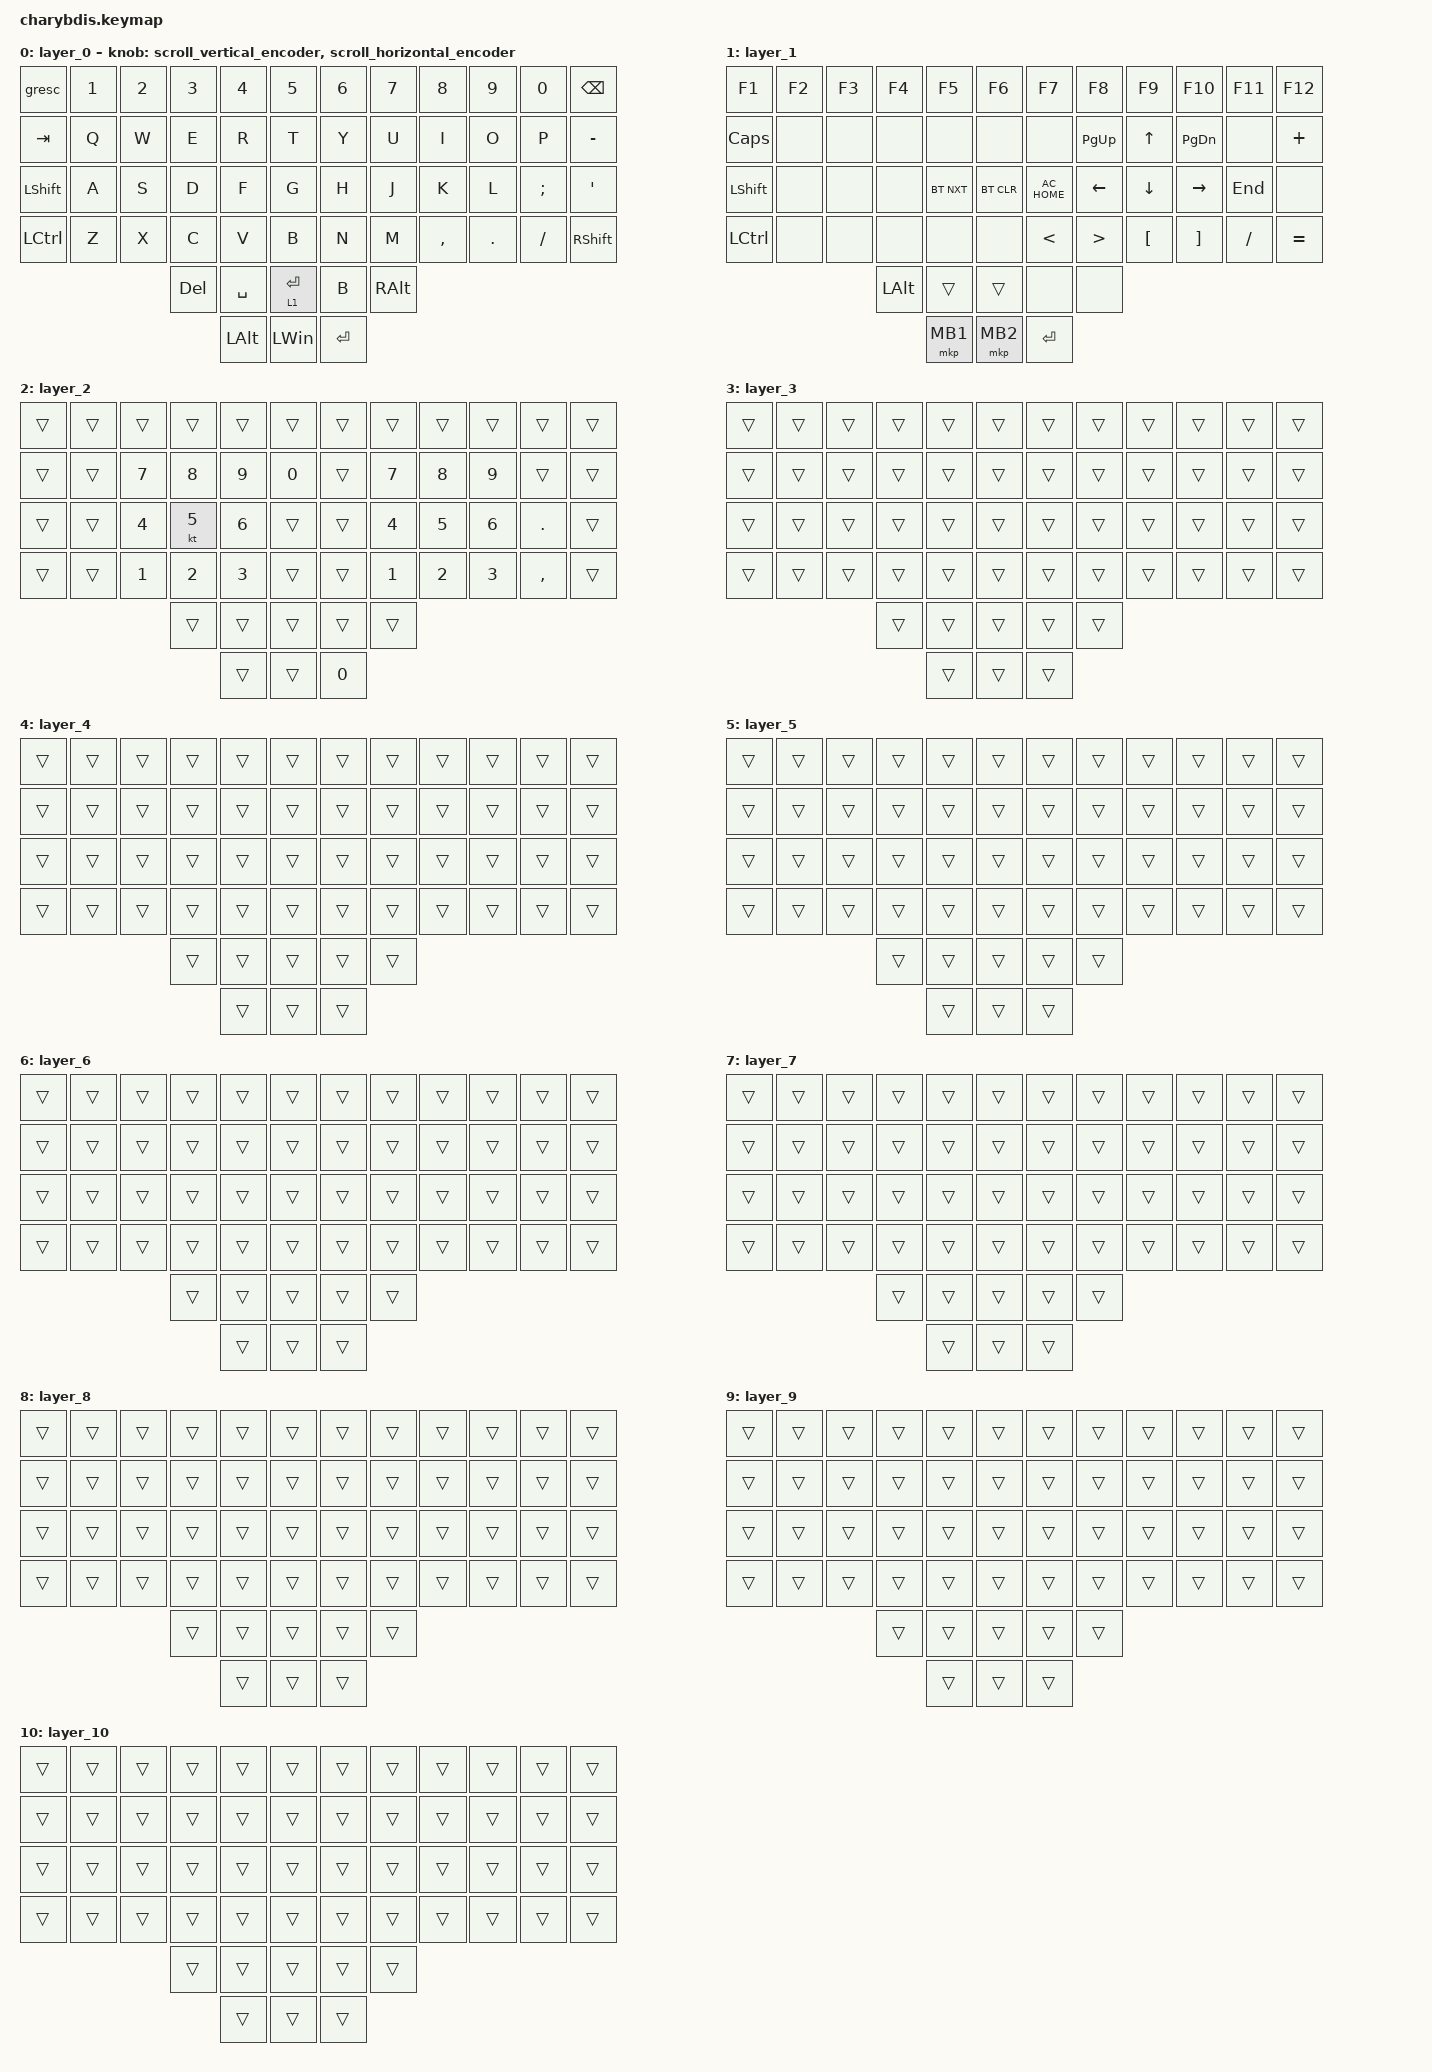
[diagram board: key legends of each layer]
#include <dt-bindings/zmk/mouse.h>
#include <input/processors.dtsi>
#include <zephyr/dt-bindings/input/input-event-codes.h>
#include <behaviors.dtsi>
#include <dt-bindings/zmk/bt.h>
#include <dt-bindings/zmk/keys.h>
#include <dt-bindings/zmk/pointing.h>
#include <dt-bindings/zmk/rgb.h>

#define ZMK_POINTING_DEFAULT_MOVE_VAL 1000 // 600
#define ZMK_POINTING_DEFAULT_SCRL_VAL 12   // 10

&lt {
    tapping-term-ms = <200>;
    flavor = "balanced";
    quick-tap-ms = <150>;
};

&mmv_input_listener { input-processors = <&zip_xy_scaler 2 1>; };

&msc_input_listener { input-processors = <&zip_scroll_scaler 2 1>; };

&msc {
    acceleration-exponent = <0>;      // 0
    time-to-max-speed-ms = <100>;       // 300
    delay-ms = <0>;                   // 0
};

&mmv {
    time-to-max-speed-ms = <500>;
    acceleration-exponent = <1>;
    trigger-period-ms = <16>;
};

/ {
    // 上下滚动编码器行为

    scroll_vertical_encoder: scroll_vertical_encoder {
        compatible = "zmk,behavior-sensor-rotate";
        #sensor-binding-cells = <0>;
        bindings = <&msc SCRL_DOWN>, <&msc SCRL_UP>;

        tap-ms = <100>;
    };

    // 左右滚动编码器行为

    scroll_horizontal_encoder: scroll_horizontal_encoder {
        compatible = "zmk,behavior-sensor-rotate";
        #sensor-binding-cells = <0>;
        bindings = <&msc SCRL_LEFT>, <&msc SCRL_RIGHT>;

        tap-ms = <100>;
    };

    behaviors {
    };

    macros {
        To1_macro: To1_macro {
            compatible = "zmk,behavior-macro";
            label = "To1_macro";
            #binding-cells = <0>;
            bindings = <&rgb_ug RGB_EFF &rgb_ug RGB_COLOR_HSB(128,100,50) &to 1>;
        };

        To1_macro_A: To1_macro_A {
            compatible = "zmk,behavior-macro";
            label = "To1_macro_A";
            #binding-cells = <0>;
            bindings = <&rgb_ug RGB_COLOR_HSB(128,100,50) &to 1>;
        };

        To0_macro: To0_macro {
            compatible = "zmk,behavior-macro";
            label = "To0_macro";
            #binding-cells = <0>;
            bindings = <&rgb_ug RGB_EFR &to 0>;
        };

        To2_macro_A: To2_macro_A {
            compatible = "zmk,behavior-macro";
            label = "To2_macro_A";
            #binding-cells = <0>;
            bindings = <&rgb_ug RGB_COLOR_HSB(250,100,50) &to 2>;
        };

        To2_macro: To2_macro {
            compatible = "zmk,behavior-macro";
            label = "To2_macro";
            #binding-cells = <0>;
            bindings = <&rgb_ug RGB_EFF &rgb_ug RGB_COLOR_HSB(250,100,50) &to 2>;
        };
    };

    combos {
        compatible = "zmk,combos";

        layer2 {
            bindings = <&tog 2>;
            key-positions = <47 35>;
        };
    };

    keymap {
        compatible = "zmk,keymap";

        layer_0 {
            bindings = <
&gresc          &kp N1  &kp N2  &kp N3      &kp N4     &kp N5          &kp N6     &kp N7    &kp N8     &kp N9      &kp N0    &kp BACKSPACE
&kp TAB         &kp Q   &kp W   &kp E       &kp R      &kp T           &kp Y      &kp U     &kp I      &kp O       &kp P     &kp MINUS
&kp LEFT_SHIFT  &kp A   &kp S   &kp D       &kp F      &kp G           &kp H      &kp J     &kp K      &kp L       &kp SEMI  &kp SQT
&kp LCTRL       &kp Z   &kp X   &kp C       &kp V      &kp B           &kp N      &kp M     &kp COMMA  &kp PERIOD  &kp FSLH  &kp RIGHT_SHIFT
                                &kp DELETE  &kp SPACE  &lt 1 ENTER     &kp B      &kp RALT
                                            &kp LALT   &kp LEFT_WIN    &kp ENTER
            >;

            sensor-bindings =
                <&scroll_vertical_encoder>,
                // 编码器1：上下滚动,,,,,
                <&scroll_horizontal_encoder>;

            // 编码器2：左右滚动
        };

        layer_1 {
            bindings = <
&kp F1          &kp F2  &kp F3  &kp F4        &kp F5      &kp F6        &kp F7         &kp F8            &kp F9            &kp F10            &kp F11    &kp F12
&kp CAPS        &none   &none   &none         &none       &none         &none          &kp PAGE_UP       &kp UP            &kp PAGE_DOWN      &none      &kp PLUS
&kp LEFT_SHIFT  &none   &none   &none         &bt BT_NXT  &bt BT_CLR    &kp C_AC_HOME  &kp LEFT          &kp DOWN          &kp RIGHT          &kp END    &none
&kp LCTRL       &none   &none   &none         &none       &none         &kp LESS_THAN  &kp GREATER_THAN  &kp LEFT_BRACKET  &kp RIGHT_BRACKET  &kp SLASH  &kp EQUAL
                                &kp LEFT_ALT  &trans      &trans        &none          &none
                                              &mkp MB1    &mkp MB2      &kp ENTER
            >;
        };

        layer_2 {
            bindings = <
&trans  &trans  &trans        &trans        &trans        &trans    &trans  &trans        &trans        &trans        &trans      &trans
&trans  &trans  &kp N7        &kp N8        &kp N9        &kp N0    &trans  &kp N7        &kp N8        &kp N9        &trans      &trans
&trans  &trans  &kp NUMBER_4  &kt N5        &kp NUMBER_6  &trans    &trans  &kp NUMBER_4  &kp N5        &kp NUMBER_6  &kp PERIOD  &trans
&trans  &trans  &kp NUMBER_1  &kp NUMBER_2  &kp NUMBER_3  &trans    &trans  &kp NUMBER_1  &kp NUMBER_2  &kp NUMBER_3  &kp COMMA   &trans
                              &trans        &trans        &trans    &trans  &trans
                                            &trans        &trans    &kp N0
            >;
        };

        layer_3 {
            bindings = <
&trans  &trans  &trans  &trans  &trans  &trans    &trans  &trans  &trans  &trans  &trans  &trans
&trans  &trans  &trans  &trans  &trans  &trans    &trans  &trans  &trans  &trans  &trans  &trans
&trans  &trans  &trans  &trans  &trans  &trans    &trans  &trans  &trans  &trans  &trans  &trans
&trans  &trans  &trans  &trans  &trans  &trans    &trans  &trans  &trans  &trans  &trans  &trans
                        &trans  &trans  &trans    &trans  &trans
                                &trans  &trans    &trans
            >;
        };

        layer_4 {
            bindings = <
&trans  &trans  &trans  &trans  &trans  &trans    &trans  &trans  &trans  &trans  &trans  &trans
&trans  &trans  &trans  &trans  &trans  &trans    &trans  &trans  &trans  &trans  &trans  &trans
&trans  &trans  &trans  &trans  &trans  &trans    &trans  &trans  &trans  &trans  &trans  &trans
&trans  &trans  &trans  &trans  &trans  &trans    &trans  &trans  &trans  &trans  &trans  &trans
                        &trans  &trans  &trans    &trans  &trans
                                &trans  &trans    &trans
            >;
        };

        layer_5 {
            bindings = <
&trans  &trans  &trans  &trans  &trans  &trans    &trans  &trans  &trans  &trans  &trans  &trans
&trans  &trans  &trans  &trans  &trans  &trans    &trans  &trans  &trans  &trans  &trans  &trans
&trans  &trans  &trans  &trans  &trans  &trans    &trans  &trans  &trans  &trans  &trans  &trans
&trans  &trans  &trans  &trans  &trans  &trans    &trans  &trans  &trans  &trans  &trans  &trans
                        &trans  &trans  &trans    &trans  &trans
                                &trans  &trans    &trans
            >;
        };

        layer_6 {
            bindings = <
&trans  &trans  &trans  &trans  &trans  &trans    &trans  &trans  &trans  &trans  &trans  &trans
&trans  &trans  &trans  &trans  &trans  &trans    &trans  &trans  &trans  &trans  &trans  &trans
&trans  &trans  &trans  &trans  &trans  &trans    &trans  &trans  &trans  &trans  &trans  &trans
&trans  &trans  &trans  &trans  &trans  &trans    &trans  &trans  &trans  &trans  &trans  &trans
                        &trans  &trans  &trans    &trans  &trans
                                &trans  &trans    &trans
            >;
        };

        layer_7 {
            bindings = <
&trans  &trans  &trans  &trans  &trans  &trans    &trans  &trans  &trans  &trans  &trans  &trans
&trans  &trans  &trans  &trans  &trans  &trans    &trans  &trans  &trans  &trans  &trans  &trans
&trans  &trans  &trans  &trans  &trans  &trans    &trans  &trans  &trans  &trans  &trans  &trans
&trans  &trans  &trans  &trans  &trans  &trans    &trans  &trans  &trans  &trans  &trans  &trans
                        &trans  &trans  &trans    &trans  &trans
                                &trans  &trans    &trans
            >;
        };

        layer_8 {
            bindings = <
&trans  &trans  &trans  &trans  &trans  &trans    &trans  &trans  &trans  &trans  &trans  &trans
&trans  &trans  &trans  &trans  &trans  &trans    &trans  &trans  &trans  &trans  &trans  &trans
&trans  &trans  &trans  &trans  &trans  &trans    &trans  &trans  &trans  &trans  &trans  &trans
&trans  &trans  &trans  &trans  &trans  &trans    &trans  &trans  &trans  &trans  &trans  &trans
                        &trans  &trans  &trans    &trans  &trans
                                &trans  &trans    &trans
            >;
        };

        layer_9 {
            bindings = <
&trans  &trans  &trans  &trans  &trans  &trans    &trans  &trans  &trans  &trans  &trans  &trans
&trans  &trans  &trans  &trans  &trans  &trans    &trans  &trans  &trans  &trans  &trans  &trans
&trans  &trans  &trans  &trans  &trans  &trans    &trans  &trans  &trans  &trans  &trans  &trans
&trans  &trans  &trans  &trans  &trans  &trans    &trans  &trans  &trans  &trans  &trans  &trans
                        &trans  &trans  &trans    &trans  &trans
                                &trans  &trans    &trans
            >;
        };

        layer_10 {
            bindings = <
&trans  &trans  &trans  &trans  &trans  &trans    &trans  &trans  &trans  &trans  &trans  &trans
&trans  &trans  &trans  &trans  &trans  &trans    &trans  &trans  &trans  &trans  &trans  &trans
&trans  &trans  &trans  &trans  &trans  &trans    &trans  &trans  &trans  &trans  &trans  &trans
&trans  &trans  &trans  &trans  &trans  &trans    &trans  &trans  &trans  &trans  &trans  &trans
                        &trans  &trans  &trans    &trans  &trans
                                &trans  &trans    &trans
            >;
        };

        /* layer_2 {
            bindings = <
&none  &none   &none    &none   &none         &none         &kp N1         &none         &none     &none  &none   &to 0
&none  &none   &none    &none   &none         &none         &none         &none          &rgb_ug RGB_BRD &rgb_ug RGB_BRI  &rgb_ug RGB_EFF   &rgb_ug RGB_TOG
&none  &none   &none    &none   &none         &none         &none         &mkp LCLK     &mkp RCLK  &none  &none   &none
&none  &none   &none    &none   &bt BT_NXT  &bt BT_CLR    &none         &none         &none     &none  &none   &none
                                   &none         &none         &none         &none         &none
                                                 &none         &none         &none
            >;
       
            
        };

       Mouse {
            bindings = <
&none        &none         &none         &none         &none      &none         &none       &none      &none         &none         &none         &none
&none        &bt BT_SEL 0  &bt BT_SEL 1  &bt BT_SEL 3  &none      &bt BT_CLR    &bt BT_CLR  &none      &bt BT_SEL 2  &bt BT_SEL 1  &bt BT_SEL 0  &none
&none        &trans        &trans        &mkp MCLK     &trans     &none         &none       &trans     &mkp MCLK     &trans        &trans        &none
&bootloader  &trans        &mkp RCLK     &mo 4         &mkp LCLK  &mo 5         &mo 5       &mkp LCLK  &mo 4         &mkp RCLK     &trans        &bootloader
                                         &mo 5         &mkp LCLK  &mkp RCLK     &mkp RCLK   &mkp LCLK
                                                       &none      &trans        &trans
            >;

            
        };

        layer_4 {
            bindings = <
&trans  &trans  &trans     &trans     &trans     &trans       &trans     &trans     &trans     &trans     &trans  &trans
&trans  &trans  &trans     &trans     &trans     &trans       &trans     &trans     &trans     &trans     &trans  &trans
&trans  &trans  &trans     &mkp MCLK  &trans     &trans       &trans     &trans     &mkp MCLK  &trans     &trans  &trans
&trans  &trans  &mkp RCLK  &trans     &mkp LCLK  &trans       &trans     &mkp LCLK  &trans     &mkp RCLK  &trans  &trans
                           &trans     &mkp LCLK  &mkp RCLK    &mkp RCLK  &mkp LCLK
                                      &trans     &trans       &trans
            >;
                
                
               
        };

        layer_5 {
            bindings = <
&trans  &trans  &trans     &trans     &trans     &trans       &trans     &trans     &trans     &trans     &trans  &trans
&trans  &trans  &trans     &trans     &trans     &trans       &trans     &trans     &trans     &trans     &trans  &trans
&trans  &trans  &trans     &mkp MCLK  &trans     &trans       &trans     &trans     &mkp MCLK  &trans     &trans  &trans
&trans  &trans  &mkp RCLK  &trans     &mkp LCLK  &trans       &trans     &mkp LCLK  &trans     &mkp RCLK  &trans  &trans
                           &trans     &mkp LCLK  &mkp RCLK    &mkp RCLK  &mkp LCLK
                                      &trans     &trans       &trans
            >;
                
                
        };*/
    };
};
